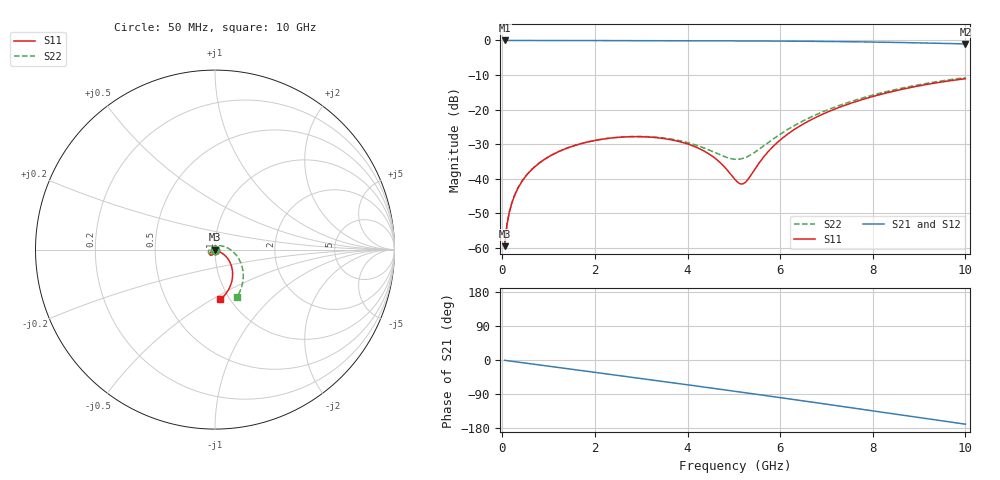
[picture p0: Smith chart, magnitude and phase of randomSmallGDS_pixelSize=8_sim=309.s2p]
! freq	dB(S11)	phase(S11)	dB(S12)	phase(S12)
!  dB(S21)	phase(S21)	dB(S22)	phase(S22)
!S-par simulation data
#  GHz  S  DB  R 50
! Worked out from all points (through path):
!   200 points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, 50 MHz to 10 GHz, reference 50 ohm
!   highest |S21| = 0.00 dB at 50 MHz (marker M1); lowest = -1.0 dB at 10 GHz (marker M2)
!   group delay of S21, straight-line fit = 47 ps
!   lowest |S11| = -59.6 dB at 50 MHz (marker M3), VSWR 1.00, Z = 50 - j0.105 ohm
!   |S11| at or under -10 dB: start of sweep to end of sweep
!   |S22| runs from -59.2 to -10.8 dB; largest |S21 - S12| = 0
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0.05  -59.59 -90.0  -0.00 -0.8  -0.00 -0.8  -59.18 -89.8
0.1  -53.52 -91.8  -0.00 -1.6  -0.00 -1.6  -53.17 -91.5
0.2  -47.42 -93.9  -0.00 -3.3  -0.00 -3.3  -47.18 -93.8
0.35  -42.52 -96.2  -0.00 -5.7  -0.00 -5.7  -42.38 -96.9
0.5  -39.44 -98.5  -0.01 -8.2  -0.01 -8.2  -39.36 -99.7
1  -33.70 -106.2  -0.02 -16.3  -0.02 -16.3  -33.69 -109.1
1.75  -29.71 -117.7  -0.04 -28.5  -0.04 -28.5  -29.70 -123.2
2.55  -28.02 -129.4  -0.05 -41.6  -0.05 -41.6  -27.98 -139.1
3.4  -28.26 -140.8  -0.07 -55.5  -0.07 -55.5  -28.12 -158.3
3.9  -29.57 -146.1  -0.08 -63.8  -0.08 -63.8  -29.25 -172.8
4.35  -31.97 -148.1  -0.10 -71.3  -0.10 -71.3  -31.12 168.9
4.7  -35.32 -143.8  -0.11 -77.1  -0.11 -77.1  -33.10 146.4
5.05  -40.65 -115.0  -0.12 -83.0  -0.12 -83.0  -34.43 110.1
5.15  -41.58 -94.7  -0.13 -84.7  -0.13 -84.7  -34.31 97.8
5.25  -41.08 -72.1  -0.13 -86.4  -0.13 -86.4  -33.90 85.5
5.65  -33.64 -31.6  -0.15 -93.2  -0.15 -93.2  -30.47 47.3
5.9  -30.03 -27.5  -0.17 -97.5  -0.17 -97.5  -28.06 32.1
6.7  -22.75 -32.1  -0.25 -111.3  -0.25 -111.3  -21.97 2.8
7.45  -18.53 -42.4  -0.35 -124.5  -0.35 -124.5  -18.03 -15.7
8.35  -15.02 -56.5  -0.53 -140.4  -0.53 -140.4  -14.64 -34.4
9.2  -12.66 -70.6  -0.76 -155.4  -0.76 -155.4  -12.34 -50.5
10  -11.08 -84.0  -1.00 -169.4  -1.00 -169.4  -10.77 -64.7
